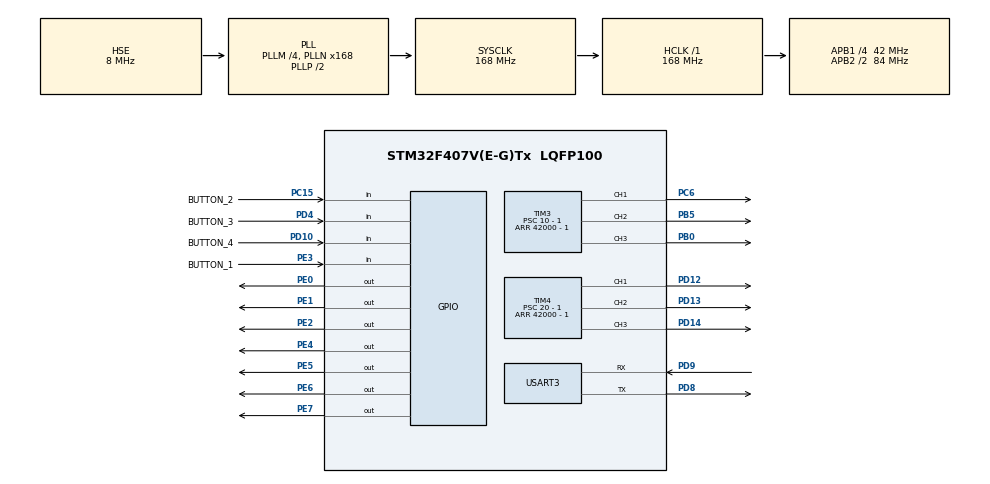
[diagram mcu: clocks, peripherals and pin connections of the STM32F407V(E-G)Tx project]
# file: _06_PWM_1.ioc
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Mcu.Family=STM32F4
Mcu.Name=STM32F407V(E-G)Tx
Mcu.Package=LQFP100
NVIC.PriorityGroup=NVIC_PRIORITYGROUP_4
NVIC.TIM7_IRQn=true\:0\:0\:false\:true\:true\:2\:true\:true\:true
NVIC.USART3_IRQn=true\:0\:0\:false\:true\:true\:1\:true\:true\:true
PB0.Signal=S_TIM3_CH3
PB5.Signal=S_TIM3_CH2
PC15-OSC32_OUT.GPIO_Label=BUTTON_2
PC15-OSC32_OUT.Signal=GPIO_Input
PC6.Signal=S_TIM3_CH1
PD10.GPIO_Label=BUTTON_4
PD10.Signal=GPIO_Input
PD12.Signal=S_TIM4_CH1
PD13.Signal=S_TIM4_CH2
PD14.Signal=S_TIM4_CH3
PD4.GPIO_Label=BUTTON_3
PD4.Signal=GPIO_Input
PD8.Mode=Asynchronous
PD8.Signal=USART3_TX
PD9.Mode=Asynchronous
PD9.Signal=USART3_RX
PE0.Signal=GPIO_Output
PE1.Signal=GPIO_Output
PE2.Signal=GPIO_Output
PE3.GPIO_Label=BUTTON_1
PE3.Signal=GPIO_Input
PE4.Signal=GPIO_Output
PE5.Signal=GPIO_Output
PE6.Signal=GPIO_Output
PE7.Signal=GPIO_Output
PH0-OSC_IN.Mode=HSE-External-Oscillator
PH0-OSC_IN.Signal=RCC_OSC_IN
PH1-OSC_OUT.Mode=HSE-External-Oscillator
PH1-OSC_OUT.Signal=RCC_OSC_OUT
ProjectManager.HeapSize=0x200
ProjectManager.StackSize=0x400
ProjectManager.TargetToolchain=STM32CubeIDE
RCC.48MHZClocksFreq_Value=84000000
RCC.AHBFreq_Value=168000000
RCC.APB1CLKDivider=RCC_HCLK_DIV4
RCC.APB1Freq_Value=42000000
RCC.APB1TimFreq_Value=84000000
RCC.APB2CLKDivider=RCC_HCLK_DIV2
RCC.APB2Freq_Value=84000000
RCC.APB2TimFreq_Value=168000000
RCC.CortexFreq_Value=168000000
RCC.HCLKFreq_Value=168000000
RCC.HSE_VALUE=8000000
RCC.HSI_VALUE=16000000
RCC.LSE_VALUE=32768
RCC.PLLM=4
RCC.PLLN=168
RCC.PLLSourceVirtual=RCC_PLLSOURCE_HSE
RCC.SYSCLKFreq_VALUE=168000000
RCC.SYSCLKSource=RCC_SYSCLKSOURCE_PLLCLK
RCC.VCOOutputFreq_Value=336000000
SH.S_TIM3_CH1.0=TIM3_CH1,PWM Generation1 CH1
SH.S_TIM3_CH2.0=TIM3_CH2,PWM Generation2 CH2
SH.S_TIM3_CH3.0=TIM3_CH3,PWM Generation3 CH3
SH.S_TIM4_CH1.0=TIM4_CH1,PWM Generation1 CH1
SH.S_TIM4_CH2.0=TIM4_CH2,PWM Generation2 CH2
SH.S_TIM4_CH3.0=TIM4_CH3,PWM Generation3 CH3
TIM3.Channel-PWM\ Generation1\ CH1=TIM_CHANNEL_1
TIM3.Channel-PWM\ Generation2\ CH2=TIM_CHANNEL_2
TIM3.Channel-PWM\ Generation3\ CH3=TIM_CHANNEL_3
TIM3.Period=42000 - 1
TIM3.Prescaler=10 - 1
TIM3.Pulse-PWM\ Generation1\ CH1=21000 - 1
TIM3.Pulse-PWM\ Generation2\ CH2=10500 - 1
TIM3.Pulse-PWM\ Generation3\ CH3=5250 - 1
TIM4.Channel-PWM\ Generation1\ CH1=TIM_CHANNEL_1
TIM4.Channel-PWM\ Generation2\ CH2=TIM_CHANNEL_2
TIM4.Channel-PWM\ Generation3\ CH3=TIM_CHANNEL_3
TIM4.Period=42000 - 1
TIM4.Prescaler=20 - 1
TIM4.Pulse-PWM\ Generation1\ CH1=21000 - 1
TIM4.Pulse-PWM\ Generation2\ CH2=10500 - 1
TIM4.Pulse-PWM\ Generation3\ CH3=5250 - 1
TIM7.Period=8400 - 1
TIM7.Prescaler=10000 - 1
USART3.VirtualMode=VM_ASYNC
VP_TIM3_VS_ClockSourceINT.Mode=Internal
VP_TIM4_VS_ClockSourceINT.Mode=Internal
VP_TIM7_VS_ClockSourceINT.Mode=Enable_Timer
board=custom

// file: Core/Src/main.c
/* USER CODE BEGIN Header */
/**
  ******************************************************************************
  * @file           : main.c
  * @brief          : Main program body
  ******************************************************************************
  * @attention
  *
  * Copyright (c) 2025 STMicroelectronics.
  * All rights reserved.
  *
  * This software is licensed under terms that can be found in the LICENSE file
  * in the root directory of this software component.
  * If no LICENSE file comes with this software, it is provided AS-IS.
  *
  ******************************************************************************
  */
/* USER CODE END Header */
#include "main.h"

/* USER CODE BEGIN Includes */
#include <stdio.h>
#include "button.h"
#include "led.h"
#include "uart.h"
#include "lcd.h"
/* USER CODE END Includes */

TIM_HandleTypeDef htim3;
TIM_HandleTypeDef htim4;
TIM_HandleTypeDef htim7;

UART_HandleTypeDef huart3;

void SystemClock_Config(void);
static void MX_GPIO_Init(void);
static void MX_USART3_UART_Init(void);
static void MX_TIM7_Init(void);
static void MX_TIM3_Init(void);
static void MX_TIM4_Init(void);
static void MX_NVIC_Init(void);

int main(void)
{

  /* MCU Configuration--------------------------------------------------------*/

  /* Reset of all peripherals, Initializes the Flash interface and the Systick. */
  HAL_Init();

  /* USER CODE BEGIN Init */
  CLCD_GPIO_Init();
  CLCD_Init();
  /* USER CODE END Init */

  /* Configure the system clock */
  SystemClock_Config();

  /* Initialize all configured peripherals */
  MX_GPIO_Init();
  MX_USART3_UART_Init();
  MX_TIM7_Init();
  MX_TIM3_Init();
  MX_TIM4_Init();

  /* Initialize interrupts */
  MX_NVIC_Init();
  /* USER CODE BEGIN 2 */
  HAL_TIM_Base_Start_IT(&htim7);
  HAL_TIM_PWM_Start(&htim3, TIM_CHANNEL_1);
  HAL_TIM_PWM_Start(&htim3, TIM_CHANNEL_2);
  HAL_TIM_PWM_Start(&htim3, TIM_CHANNEL_3);
  HAL_TIM_PWM_Start(&htim4, TIM_CHANNEL_1);
  HAL_TIM_PWM_Start(&htim4, TIM_CHANNEL_2);
  HAL_TIM_PWM_Start(&htim4, TIM_CHANNEL_3);
  /* USER CODE END 2 */

  /* Infinite loop */
  /* USER CODE BEGIN WHILE */

  receive_data();
  uint16_t ccr = 0;
  while (1)
  {
//	  __HAL_TIM_SET_COMPARE(&htim4, TIM_CHANNEL_1, ccr);
//	  htim4.Instance->CCR1 = ccr;
	  TIM4->CCR1 = ccr;
	  ccr += 1000;
	  if (ccr > TIM4->ARR) ccr = 0;
	  HAL_Delay(50);
//	  static uint8_t count;
//	  operate_lcd_top("%03d", count++);
//	  HAL_Delay(1000);

    /* USER CODE END WHILE */

  }
}

void SystemClock_Config(void)
{
  RCC_OscInitTypeDef RCC_OscInitStruct = {0};
  RCC_ClkInitTypeDef RCC_ClkInitStruct = {0};

  /** Configure the main internal regulator output voltage
  */
  __HAL_RCC_PWR_CLK_ENABLE();
  __HAL_PWR_VOLTAGESCALING_CONFIG(PWR_REGULATOR_VOLTAGE_SCALE1);

  /** Initializes the RCC Oscillators according to the specified parameters
  * in the RCC_OscInitTypeDef structure.
  */
  RCC_OscInitStruct.OscillatorType = RCC_OSCILLATORTYPE_HSE;
  RCC_OscInitStruct.HSEState = RCC_HSE_ON;
  RCC_OscInitStruct.PLL.PLLState = RCC_PLL_ON;
  RCC_OscInitStruct.PLL.PLLSource = RCC_PLLSOURCE_HSE;
  RCC_OscInitStruct.PLL.PLLM = 4;
  RCC_OscInitStruct.PLL.PLLN = 168;
  RCC_OscInitStruct.PLL.PLLP = RCC_PLLP_DIV2;
  RCC_OscInitStruct.PLL.PLLQ = 4;
  if (HAL_RCC_OscConfig(&RCC_OscInitStruct) != HAL_OK)
  {
    Error_Handler();
  }

  /** Initializes the CPU, AHB and APB buses clocks
  */
  RCC_ClkInitStruct.ClockType = RCC_CLOCKTYPE_HCLK|RCC_CLOCKTYPE_SYSCLK
                              |RCC_CLOCKTYPE_PCLK1|RCC_CLOCKTYPE_PCLK2;
  RCC_ClkInitStruct.SYSCLKSource = RCC_SYSCLKSOURCE_PLLCLK;
  RCC_ClkInitStruct.AHBCLKDivider = RCC_SYSCLK_DIV1;
  RCC_ClkInitStruct.APB1CLKDivider = RCC_HCLK_DIV4;
  RCC_ClkInitStruct.APB2CLKDivider = RCC_HCLK_DIV2;

  if (HAL_RCC_ClockConfig(&RCC_ClkInitStruct, FLASH_LATENCY_5) != HAL_OK)
  {
    Error_Handler();
  }
}

/**
  * @brief NVIC Configuration.
  * @retval None
  */
static void MX_NVIC_Init(void)
{
  /* USART3_IRQn interrupt configuration */
  HAL_NVIC_SetPriority(USART3_IRQn, 0, 0);
  HAL_NVIC_EnableIRQ(USART3_IRQn);
  /* TIM7_IRQn interrupt configuration */
  HAL_NVIC_SetPriority(TIM7_IRQn, 0, 0);
  HAL_NVIC_EnableIRQ(TIM7_IRQn);
}

static void MX_TIM3_Init(void)
{

  TIM_ClockConfigTypeDef sClockSourceConfig = {0};
  TIM_MasterConfigTypeDef sMasterConfig = {0};
  TIM_OC_InitTypeDef sConfigOC = {0};

  htim3.Instance = TIM3;
  htim3.Init.Prescaler = 10 - 1;
  htim3.Init.CounterMode = TIM_COUNTERMODE_UP;
  htim3.Init.Period = 42000 - 1;
  htim3.Init.ClockDivision = TIM_CLOCKDIVISION_DIV1;
  htim3.Init.AutoReloadPreload = TIM_AUTORELOAD_PRELOAD_DISABLE;
  if (HAL_TIM_Base_Init(&htim3) != HAL_OK)
  {
    Error_Handler();
  }
  sClockSourceConfig.ClockSource = TIM_CLOCKSOURCE_INTERNAL;
  if (HAL_TIM_ConfigClockSource(&htim3, &sClockSourceConfig) != HAL_OK)
  {
    Error_Handler();
  }
  if (HAL_TIM_PWM_Init(&htim3) != HAL_OK)
  {
    Error_Handler();
  }
  sMasterConfig.MasterOutputTrigger = TIM_TRGO_RESET;
  sMasterConfig.MasterSlaveMode = TIM_MASTERSLAVEMODE_DISABLE;
  if (HAL_TIMEx_MasterConfigSynchronization(&htim3, &sMasterConfig) != HAL_OK)
  {
    Error_Handler();
  }
  sConfigOC.OCMode = TIM_OCMODE_PWM1;
  sConfigOC.Pulse = 21000 - 1;
  sConfigOC.OCPolarity = TIM_OCPOLARITY_HIGH;
  sConfigOC.OCFastMode = TIM_OCFAST_DISABLE;
  if (HAL_TIM_PWM_ConfigChannel(&htim3, &sConfigOC, TIM_CHANNEL_1) != HAL_OK)
  {
    Error_Handler();
  }
  sConfigOC.Pulse = 10500 - 1;
  if (HAL_TIM_PWM_ConfigChannel(&htim3, &sConfigOC, TIM_CHANNEL_2) != HAL_OK)
  {
    Error_Handler();
  }
  sConfigOC.Pulse = 5250 - 1;
  if (HAL_TIM_PWM_ConfigChannel(&htim3, &sConfigOC, TIM_CHANNEL_3) != HAL_OK)
  {
    Error_Handler();
  }
  HAL_TIM_MspPostInit(&htim3);

}

static void MX_TIM4_Init(void)
{

  TIM_ClockConfigTypeDef sClockSourceConfig = {0};
  TIM_MasterConfigTypeDef sMasterConfig = {0};
  TIM_OC_InitTypeDef sConfigOC = {0};

  htim4.Instance = TIM4;
  htim4.Init.Prescaler = 20 - 1;
  htim4.Init.CounterMode = TIM_COUNTERMODE_UP;
  htim4.Init.Period = 42000 - 1;
  htim4.Init.ClockDivision = TIM_CLOCKDIVISION_DIV1;
  htim4.Init.AutoReloadPreload = TIM_AUTORELOAD_PRELOAD_DISABLE;
  if (HAL_TIM_Base_Init(&htim4) != HAL_OK)
  {
    Error_Handler();
  }
  sClockSourceConfig.ClockSource = TIM_CLOCKSOURCE_INTERNAL;
  if (HAL_TIM_ConfigClockSource(&htim4, &sClockSourceConfig) != HAL_OK)
  {
    Error_Handler();
  }
  if (HAL_TIM_PWM_Init(&htim4) != HAL_OK)
  {
    Error_Handler();
  }
  sMasterConfig.MasterOutputTrigger = TIM_TRGO_RESET;
  sMasterConfig.MasterSlaveMode = TIM_MASTERSLAVEMODE_DISABLE;
  if (HAL_TIMEx_MasterConfigSynchronization(&htim4, &sMasterConfig) != HAL_OK)
  {
    Error_Handler();
  }
  sConfigOC.OCMode = TIM_OCMODE_PWM1;
  sConfigOC.Pulse = 21000 - 1;
  sConfigOC.OCPolarity = TIM_OCPOLARITY_HIGH;
  sConfigOC.OCFastMode = TIM_OCFAST_DISABLE;
  if (HAL_TIM_PWM_ConfigChannel(&htim4, &sConfigOC, TIM_CHANNEL_1) != HAL_OK)
  {
    Error_Handler();
  }
  sConfigOC.Pulse = 10500 - 1;
  if (HAL_TIM_PWM_ConfigChannel(&htim4, &sConfigOC, TIM_CHANNEL_2) != HAL_OK)
  {
    Error_Handler();
  }
  sConfigOC.Pulse = 5250 - 1;
  if (HAL_TIM_PWM_ConfigChannel(&htim4, &sConfigOC, TIM_CHANNEL_3) != HAL_OK)
  {
    Error_Handler();
  }
  HAL_TIM_MspPostInit(&htim4);

}

static void MX_TIM7_Init(void)
{

  TIM_MasterConfigTypeDef sMasterConfig = {0};

  htim7.Instance = TIM7;
  htim7.Init.Prescaler = 10000 - 1;
  htim7.Init.CounterMode = TIM_COUNTERMODE_UP;
  htim7.Init.Period = 8400 - 1;
  htim7.Init.AutoReloadPreload = TIM_AUTORELOAD_PRELOAD_DISABLE;
  if (HAL_TIM_Base_Init(&htim7) != HAL_OK)
  {
    Error_Handler();
  }
  sMasterConfig.MasterOutputTrigger = TIM_TRGO_RESET;
  sMasterConfig.MasterSlaveMode = TIM_MASTERSLAVEMODE_DISABLE;
  if (HAL_TIMEx_MasterConfigSynchronization(&htim7, &sMasterConfig) != HAL_OK)
  {
    Error_Handler();
  }

}

static void MX_USART3_UART_Init(void)
{

  huart3.Instance = USART3;
  huart3.Init.BaudRate = 115200;
  huart3.Init.WordLength = UART_WORDLENGTH_8B;
  huart3.Init.StopBits = UART_STOPBITS_1;
  huart3.Init.Parity = UART_PARITY_NONE;
  huart3.Init.Mode = UART_MODE_TX_RX;
  huart3.Init.HwFlowCtl = UART_HWCONTROL_NONE;
  huart3.Init.OverSampling = UART_OVERSAMPLING_16;
  if (HAL_UART_Init(&huart3) != HAL_OK)
  {
    Error_Handler();
  }

}

static void MX_GPIO_Init(void)
{
  GPIO_InitTypeDef GPIO_InitStruct = {0};

  /* GPIO Ports Clock Enable */
  __HAL_RCC_GPIOE_CLK_ENABLE();
  __HAL_RCC_GPIOC_CLK_ENABLE();
  __HAL_RCC_GPIOH_CLK_ENABLE();
  __HAL_RCC_GPIOB_CLK_ENABLE();
  __HAL_RCC_GPIOD_CLK_ENABLE();

  /*Configure GPIO pin Output Level */
  HAL_GPIO_WritePin(GPIOE, GPIO_PIN_2|GPIO_PIN_4|GPIO_PIN_5|GPIO_PIN_6
                          |GPIO_PIN_7|GPIO_PIN_0|GPIO_PIN_1, GPIO_PIN_RESET);

  /*Configure GPIO pins : PE2 PE4 PE5 PE6
                           PE7 PE0 PE1 */
  GPIO_InitStruct.Pin = GPIO_PIN_2|GPIO_PIN_4|GPIO_PIN_5|GPIO_PIN_6
                          |GPIO_PIN_7|GPIO_PIN_0|GPIO_PIN_1;
  GPIO_InitStruct.Mode = GPIO_MODE_OUTPUT_PP;
  GPIO_InitStruct.Pull = GPIO_NOPULL;
  GPIO_InitStruct.Speed = GPIO_SPEED_FREQ_LOW;
  HAL_GPIO_Init(GPIOE, &GPIO_InitStruct);

  /*Configure GPIO pin : BUTTON_1_Pin */
  GPIO_InitStruct.Pin = BUTTON_1_Pin;
  GPIO_InitStruct.Mode = GPIO_MODE_INPUT;
  GPIO_InitStruct.Pull = GPIO_NOPULL;
  HAL_GPIO_Init(BUTTON_1_GPIO_Port, &GPIO_InitStruct);

  /*Configure GPIO pin : BUTTON_2_Pin */
  GPIO_InitStruct.Pin = BUTTON_2_Pin;
  GPIO_InitStruct.Mode = GPIO_MODE_INPUT;
  GPIO_InitStruct.Pull = GPIO_NOPULL;
  HAL_GPIO_Init(BUTTON_2_GPIO_Port, &GPIO_InitStruct);

  /*Configure GPIO pins : BUTTON_4_Pin BUTTON_3_Pin */
  GPIO_InitStruct.Pin = BUTTON_4_Pin|BUTTON_3_Pin;
  GPIO_InitStruct.Mode = GPIO_MODE_INPUT;
  GPIO_InitStruct.Pull = GPIO_NOPULL;
  HAL_GPIO_Init(GPIOD, &GPIO_InitStruct);

}

/* USER CODE BEGIN 4 */
int _write(int file, char *ptr, int len)
{
	HAL_UART_Transmit(&huart3, (const uint8_t*) ptr, len, 100);

	return len;
}

void HAL_UART_RxCpltCallback(UART_HandleTypeDef *huart)
{
	if (huart->Instance == USART3)
	{
		if (receive_data() == HAL_OK)
		{
			transmit_data();
		}
	}
}

void HAL_TIM_PeriodElapsedCallback(TIM_HandleTypeDef *htim)
{
	if (htim->Instance == TIM7)
	{

	}
}
/* USER CODE END 4 */

void Error_Handler(void)
{
  __disable_irq();
  while (1)
  {
  }
}
